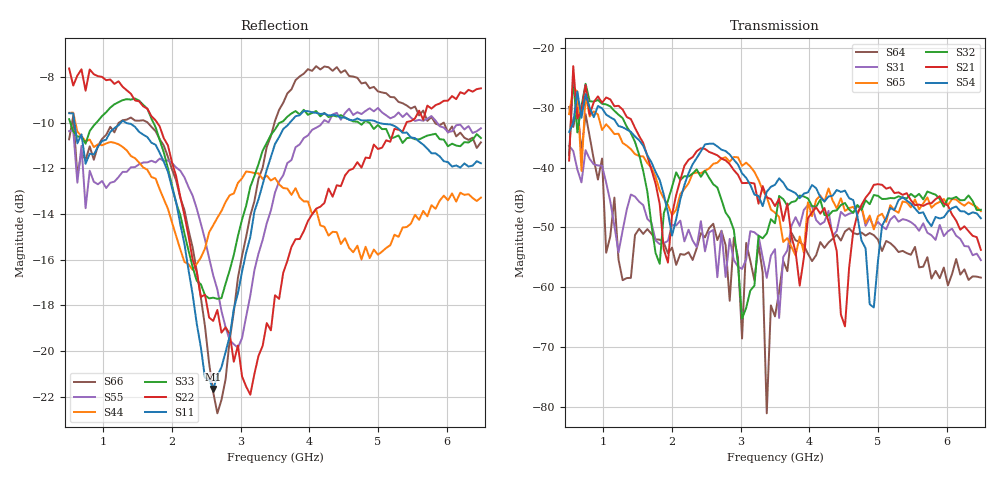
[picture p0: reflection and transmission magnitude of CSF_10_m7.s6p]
!Keysight Technologies,M9804A,MY58100912,A.14.10.03
!Date: Thursday, April 27, 2023 10:28:33
!Correction: S11(C  6-Port  )
!S12(C  6-Port  )
!S13(C  6-Port  )
!S14(C  6-Port  )
!S15(C  6-Port  )
!S16(C  6-Port  )
!S21(C  6-Port  )
!S22(C  6-Port  )
!S23(C  6-Port  )
!S24(C  6-Port  )
!S25(C  6-Port  )
!S26(C  6-Port  )
!S31(C  6-Port  )
!S32(C  6-Port  )
!S33(C  6-Port  )
!S34(C  6-Port  )
!S35(C  6-Port  )
!S36(C  6-Port  )
!S41(C  6-Port  )
!S42(C  6-Port  )
!S43(C  6-Port  )
!S44(C  6-Port  )
!S45(C  6-Port  )
!S46(C  6-Port  )
!S51(C  6-Port  )
!S52(C  6-Port  )
!S53(C  6-Port  )
!S54(C  6-Port  )
!S55(C  6-Port  )
!S56(C  6-Port  )
!S61(C  6-Port  )
!S62(C  6-Port  )
!S63(C  6-Port  )
!S64(C  6-Port  )
!S65(C  6-Port  )
!S66(C  6-Port  )
!S6P File: Measurement: :
# Hz S  RI  R 50
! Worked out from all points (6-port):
!   101 points, 500 MHz to 6.5 GHz, reference 50 ohm
!   strongest paths, dB at 500 MHz, 2 GHz, 3.5 GHz, 5 GHz, 6.5 GHz:
!     S54: -34.1, -51.4, -42.9, -55.6, -48.5
!     S21: -38.8, -47.8, -46.4, -42.8, -53.7
!     S32: -37.9, -43.2, -49.3, -44.7, -47.1
!     S65: -31.1, -48.0, -47.5, -48.1, -47.3
!     S31: -36.4, -49.6, -53.6, -49.1, -55.4
!     S64: -29.9, -53.4, -64.8, -52.0, -58.4
!   lowest |S11| = -21.7 dB at 2.6 GHz (marker M1), VSWR 1.18, Z = 42.6 + j2.05 ohm
!   |S11| at or under -10 dB: 578.7 MHz to 1.253 GHz (674.2 MHz wide, 73.6 % of centre); 1.332 GHz to 3.715 GHz (2.383 GHz wide, 94.4 % of centre); 5.011 GHz to end of sweep
